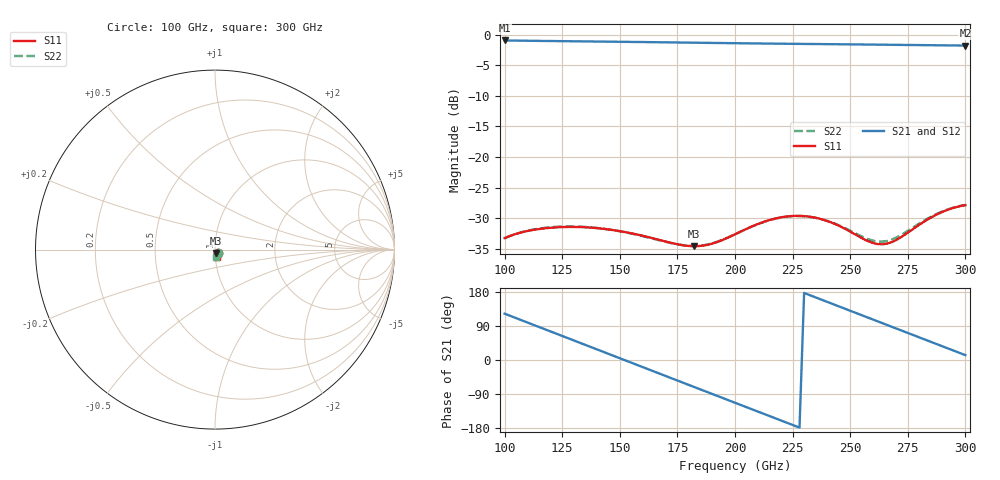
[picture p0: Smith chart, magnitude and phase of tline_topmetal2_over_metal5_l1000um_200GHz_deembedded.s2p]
! Created with skrf 2.2.0 (http://scikit-rf.org).
# GHz S DB R 50.0
! Port[1] = P1
! Port[2] = P2
!freq dBS11 angS11 dBS21 angS21 dBS12 angS12 dBS22 angS22
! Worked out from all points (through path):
!   101 points, 100 GHz to 300 GHz, reference 50 ohm
!   highest |S21| = -0.96 dB at 100 GHz (marker M1); lowest = -1.8 dB at 300 GHz (marker M2)
!   group delay of S21, straight-line fit = 6.52 ps
!   lowest |S11| = -34.6 dB at 182 GHz (marker M3), VSWR 1.04, Z = 50.4 - j1.82 ohm
!   |S11| at or under -10 dB: start of sweep to end of sweep
!   |S22| runs from -34.6 to -27.9 dB; largest |S21 - S12| = 1.8e-13
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100  -33.27 -48.1  -0.96 122.2  -0.96 122.2  -33.30 -48.7
108  -32.27 -53.7  -1.00 103.4  -1.00 103.4  -32.24 -54.3
116  -31.73 -59.7  -1.04 84.6  -1.04 84.6  -31.66 -60.7
124  -31.49 -65.6  -1.07 65.8  -1.07 65.8  -31.40 -66.9
134  -31.49 -72.5  -1.11 42.3  -1.11 42.3  -31.42 -74.1
144  -31.80 -78.5  -1.15 18.8  -1.15 18.8  -31.79 -80.2
152  -32.27 -82.2  -1.19 -0.1  -1.19 -0.1  -32.30 -83.8
160  -32.89 -84.4  -1.22 -18.9  -1.22 -18.9  -32.96 -85.6
168  -33.65 -84.3  -1.26 -37.7  -1.26 -37.7  -33.71 -85.1
182  -34.59 -75.7  -1.33 -70.6  -1.33 -70.6  -34.56 -76.3
190  -34.19 -67.9  -1.36 -89.4  -1.36 -89.4  -34.13 -68.7
200  -32.65 -62.7  -1.41 -112.8  -1.41 -112.8  -32.63 -63.6
218  -30.02 -71.7  -1.49 -155.0  -1.49 -155.0  -30.05 -72.2
226  -29.64 -79.9  -1.52 -173.7  -1.52 -173.7  -29.67 -80.0
234  -29.87 -88.1  -1.54 167.5  -1.54 167.5  -29.88 -87.8
242  -30.75 -94.6  -1.57 148.8  -1.57 148.8  -30.71 -93.8
252  -32.63 -96.1  -1.61 125.3  -1.61 125.3  -32.44 -94.9
260  -34.08 -87.3  -1.64 106.5  -1.64 106.5  -33.70 -86.6
268  -33.93 -72.0  -1.67 87.8  -1.67 87.8  -33.52 -72.8
282  -30.60 -62.4  -1.73 55.0  -1.73 55.0  -30.44 -64.0
292  -28.68 -69.2  -1.77 31.5  -1.77 31.5  -28.62 -70.4
300  -27.88 -77.9  -1.80 12.8  -1.80 12.8  -27.85 -78.6
